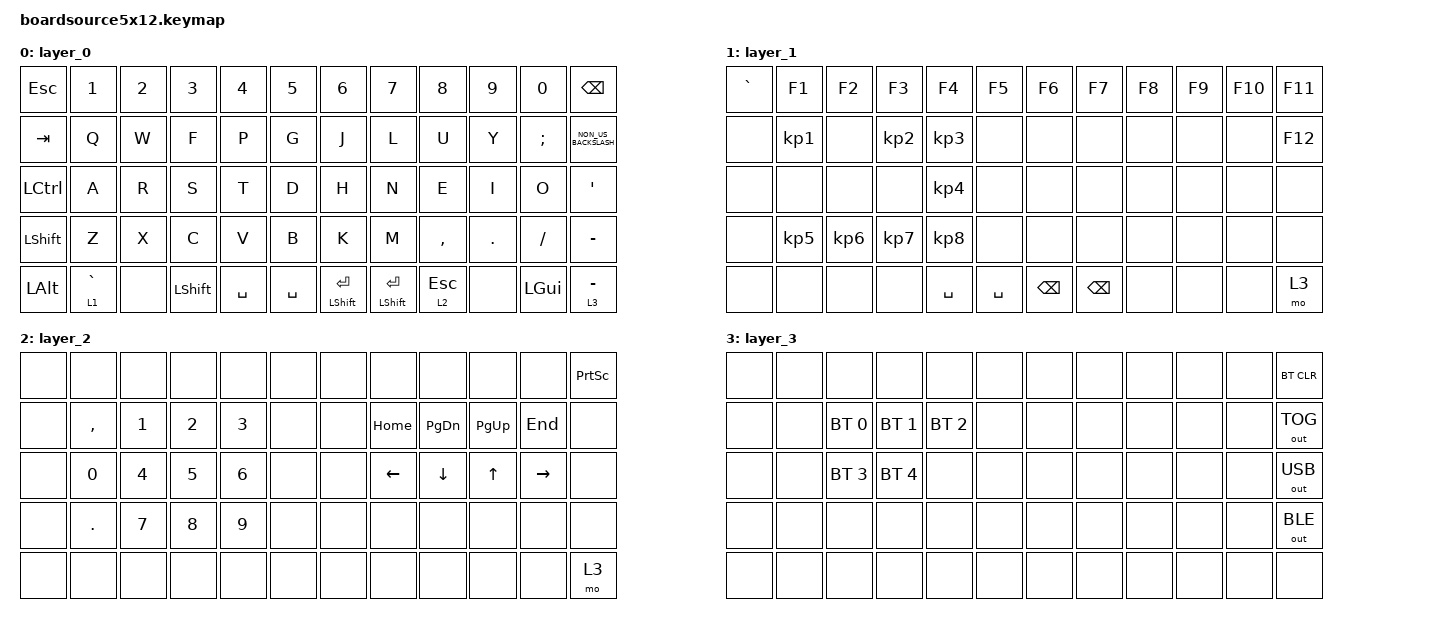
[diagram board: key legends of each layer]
/*
 * Copyright (c) 2021 The ZMK Contributors
 *
 * SPDX-License-Identifier: MIT
 */

#include <behaviors.dtsi>
#include <dt-bindings/zmk/bt.h>
#include <dt-bindings/zmk/keys.h>
#include <dt-bindings/zmk/outputs.h>

/ {
    behaviors {
    };

    zHomeMod: zHomeMod {
        compatible = "zmk,behavior-hold-tap";
        label = "ZHOMEMOD";
        bindings = <&kp>, <&kp>;

        #binding-cells = <2>;
        tapping-term-ms = <250>;
        quick-tap-ms = <200>;
        flavor = "tap-preferred";
        require-prior-idle-ms = <130>;
    };

    zFast_Mod: zFast_Mod {
        compatible = "zmk,behavior-hold-tap";
        label = "ZFAST_MOD";
        bindings = <&kp>, <&kp>;

        #binding-cells = <2>;
        tapping-term-ms = <200>;
        hold-while-undecided;
    };

    zHomeLayer: zHomeLayer {
        compatible = "zmk,behavior-hold-tap";
        label = "ZHOMELAYER";
        bindings = <&mo>, <&kp>;

        #binding-cells = <2>;
        tapping-term-ms = <250>;
        quick-tap-ms = <200>;
        flavor = "tap-preferred";
        require-prior-idle-ms = <130>;
    };

    zFastLayer: zFastLayer {
        compatible = "zmk,behavior-hold-tap";
        label = "ZFASTLAYER";
        bindings = <&mo>, <&kp>;

        #binding-cells = <2>;
        hold-while-undecided;
        tapping-term-ms = <200>;
    };

    combos { compatible = "zmk,combos"; };

    keymap {
        compatible = "zmk,keymap";

        layer_0 {
            bindings = <
&kp ESC    &kp N1               &kp N2  &kp N3          &kp N4     &kp N5     &kp N6                       &kp N7                       &kp N8                &kp N9   &kp N0        &kp BSPC
&kp TAB    &kp Q                &kp W   &kp F           &kp P      &kp G      &kp J                        &kp L                        &kp U                 &kp Y    &kp SEMI      &kp NON_US_BACKSLASH
&kp LCTRL  &kp A                &kp R   &kp S           &kp T      &kp D      &kp H                        &kp N                        &kp E                 &kp I    &kp O         &kp SQT
&kp LSHFT  &kp Z                &kp X   &kp C           &kp V      &kp B      &kp K                        &kp M                        &kp COMMA             &kp DOT  &kp FSLH      &kp MINUS
&kp LALT   &zFastLayer 1 GRAVE  &none   &kp LEFT_SHIFT  &kp SPACE  &kp SPACE  &zFast_Mod LEFT_SHIFT ENTER  &zFast_Mod LEFT_SHIFT ENTER  &zFastLayer 2 ESCAPE  &none    &kp LEFT_GUI  &zFastLayer 3 MINUS
            >;
        };

        layer_1 {
            bindings = <
&kp GRAVE  &kp F1           &kp F2     &kp F3     &kp F4     &kp F5     &kp F6    &kp F7    &kp F8  &kp F9  &kp F10  &kp F11
&none      &kp KP_NUMBER_1  &none      &kp KP_N2  &kp KP_N3  &none      &none     &none     &none   &none   &none    &kp F12
&none      &none            &none      &none      &kp KP_N4  &none      &none     &none     &none   &none   &none    &none
&none      &kp KP_N5        &kp KP_N6  &kp KP_N7  &kp KP_N8  &none      &none     &none     &none   &none   &none    &none
&none      &none            &none      &none      &kp SPACE  &kp SPACE  &kp BSPC  &kp BSPC  &none   &none   &none    &mo 3
            >;
        };

        layer_2 {
            bindings = <
&none  &none      &none   &none   &none   &none  &none  &none     &none      &none      &none      &kp PRINTSCREEN
&none  &kp COMMA  &kp N1  &kp N2  &kp N3  &none  &none  &kp HOME  &kp PG_DN  &kp PG_UP  &kp END    &none
&none  &kp N0     &kp N4  &kp N5  &kp N6  &none  &none  &kp LEFT  &kp DOWN   &kp UP     &kp RIGHT  &none
&none  &kp DOT    &kp N7  &kp N8  &kp N9  &none  &none  &none     &none      &none      &none      &none
&none  &none      &none   &none   &none   &none  &none  &none     &none      &none      &none      &mo 3
            >;
        };

        layer_3 {
            bindings = <
&none  &none  &none         &none         &none         &none  &none  &none  &none  &none  &none  &bt BT_CLR
&none  &none  &bt BT_SEL 0  &bt BT_SEL 1  &bt BT_SEL 2  &none  &none  &none  &none  &none  &none  &out OUT_TOG
&none  &none  &bt BT_SEL 3  &bt BT_SEL 4  &none         &none  &none  &none  &none  &none  &none  &out OUT_USB
&none  &none  &none         &none         &none         &none  &none  &none  &none  &none  &none  &out OUT_BLE
&none  &none  &none         &none         &none         &none  &none  &none  &none  &none  &none  &none
            >;
        };
    };
};
